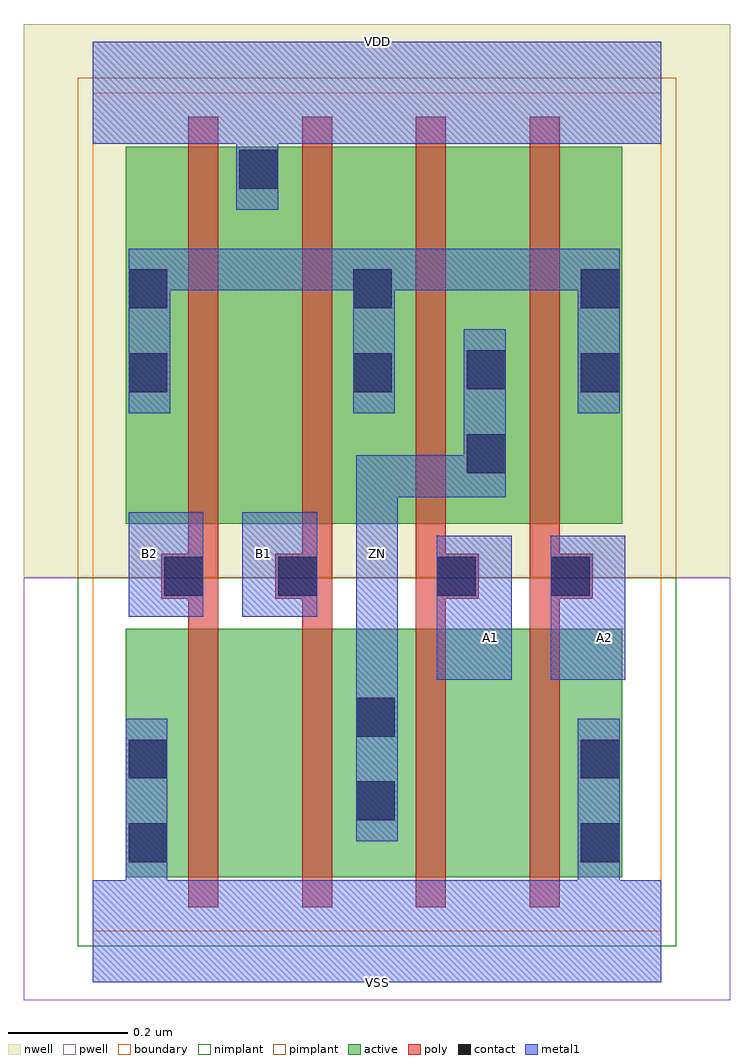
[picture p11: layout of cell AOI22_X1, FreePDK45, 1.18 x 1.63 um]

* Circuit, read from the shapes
.subckt AOI22_X1 A1 A2 B1 B2 VDD VSS ZN
M1 n1 B2 VSS VSUBS nfet w=0.415u l=0.05u
M2 ZN B1 n1 VSUBS nfet w=0.415u l=0.05u
M3 n2 A1 ZN VSUBS nfet w=0.415u l=0.05u
M4 VSS A2 n2 VSUBS nfet w=0.415u l=0.05u
M5 VDD B2 n3 n4 pfet w=0.63u l=0.05u
M6 n3 B1 VDD n4 pfet w=0.63u l=0.05u
M7 ZN A1 n3 n4 pfet w=0.63u l=0.05u
M8 n3 A2 ZN n4 pfet w=0.63u l=0.05u
.ends

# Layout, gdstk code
import gdstk
lib = gdstk.Library(unit=1e-6, precision=5e-10)
def R(c, l, rs):  # rectangles x0, y0, x1, y1
    for r in rs: c.add(gdstk.rectangle(r[:2], r[2:], *l))
def P(c, l, *ps):  # polygons
    for p in ps: c.add(gdstk.Polygon(p, *l))
active = (1, 0)
pwell = (2, 0)
nwell = (3, 0)
nimplant = (4, 0)
pimplant = (5, 0)
poly = (9, 0)
contact = (10, 0)
metal1 = (11, 0)
boundary = (235, 0)

aoi22_x1 = lib.new_cell('AOI22_X1')
R(aoi22_x1, active, [(0.055,0.09,0.885,0.505), (0.055,0.68,0.885,1.31)])
R(aoi22_x1, pwell, [(-0.115,-0.115,1.065,0.59)])
R(aoi22_x1, nwell, [(-0.115,0.59,1.065,1.515)])
R(aoi22_x1, nimplant, [(-0.025,-0.025,0.975,0.59)])
R(aoi22_x1, pimplant, [(-0.025,0.59,0.975,1.425)])
P(aoi22_x1, poly, [(0.73,0.04),(0.78,0.04),(0.78,0.555),(0.835,0.555),(0.835,0.63),(0.78,0.63),(0.78,1.36),(0.73,1.36)],
  [(0.54,0.04),(0.59,0.04),(0.59,0.555),(0.645,0.555),(0.645,0.63),(0.59,0.63),(0.59,1.36),(0.54,1.36)],
  [(0.305,0.555),(0.35,0.555),(0.35,0.04),(0.4,0.04),(0.4,1.36),(0.35,1.36),(0.35,0.63),(0.305,0.63)],
  [(0.115,0.555),(0.16,0.555),(0.16,0.04),(0.21,0.04),(0.21,1.36),(0.16,1.36),(0.16,0.63),(0.115,0.63)])
R(aoi22_x1, contact, [(0.06,0.115,0.125,0.18), (0.815,0.115,0.88,0.18), (0.44,0.185,0.505,0.25), (0.06,0.255,0.125,0.32), (0.815,0.255,0.88,0.32), (0.44,0.325,0.505,0.39), (0.12,0.56,0.185,0.625), (0.31,0.56,0.375,0.625), (0.575,0.56,0.64,0.625), (0.765,0.56,0.83,0.625), (0.625,0.765,0.69,0.83), (0.06,0.9,0.125,0.965), (0.435,0.9,0.5,0.965), (0.815,0.9,0.88,0.965), (0.625,0.905,0.69,0.97), (0.06,1.04,0.125,1.105), (0.435,1.04,0.5,1.105), (0.815,1.04,0.88,1.105), (0.245,1.24,0.31,1.305)])
R(aoi22_x1, metal1, [(0.575,0.42,0.7,0.66), (0.575,0.42,0.7,0.66), (0.765,0.42,0.89,0.66), (0.765,0.42,0.89,0.66), (0.06,0.525,0.185,0.7), (0.06,0.525,0.185,0.7), (0.25,0.525,0.375,0.7), (0.25,0.525,0.375,0.7)])
P(aoi22_x1, metal1, [(0,-0.085),(0.95,-0.085),(0.95,0.085),(0.88,0.085),(0.88,0.355),(0.81,0.355),(0.81,0.085),(0.125,0.085),(0.125,0.355),(0.055,0.355),(0.055,0.085),(0,0.085)],
  [(0,1.315),(0.24,1.315),(0.24,1.205),(0.31,1.205),(0.31,1.315),(0.95,1.315),(0.95,1.485),(0,1.485)],
  [(0.44,0.15),(0.51,0.15),(0.51,0.725),(0.69,0.725),(0.69,1.005),(0.62,1.005),(0.62,0.795),(0.44,0.795)],
  [(0,1.315),(0.24,1.315),(0.24,1.205),(0.31,1.205),(0.31,1.315),(0.95,1.315),(0.95,1.485),(0,1.485)],
  [(0,-0.085),(0.95,-0.085),(0.95,0.085),(0.88,0.085),(0.88,0.355),(0.81,0.355),(0.81,0.085),(0.125,0.085),(0.125,0.355),(0.055,0.355),(0.055,0.085),(0,0.085)],
  [(0.06,0.865),(0.13,0.865),(0.13,1.07),(0.435,1.07),(0.435,0.865),(0.505,0.865),(0.505,1.07),(0.81,1.07),(0.81,0.865),(0.88,0.865),(0.88,1.14),(0.06,1.14)],
  [(0.44,0.15),(0.51,0.15),(0.51,0.725),(0.69,0.725),(0.69,1.005),(0.62,1.005),(0.62,0.795),(0.44,0.795)])
R(aoi22_x1, boundary, [(0,0,0.95,1.4)])
aoi22_x1.add(gdstk.Label('ZN', (0.475,0.63), layer=11, texttype=0))
aoi22_x1.add(gdstk.Label('VSS', (0.475,-0.085), layer=11, texttype=0))
aoi22_x1.add(gdstk.Label('VDD', (0.475,1.485), layer=11, texttype=0))
aoi22_x1.add(gdstk.Label('B2', (0.095,0.63), layer=11, texttype=0))
aoi22_x1.add(gdstk.Label('B1', (0.285,0.63), layer=11, texttype=0))
aoi22_x1.add(gdstk.Label('A2', (0.855,0.49), layer=11, texttype=0))
aoi22_x1.add(gdstk.Label('A1', (0.665,0.49), layer=11, texttype=0))

lib.write_gds('AOI22_X1.gds')
